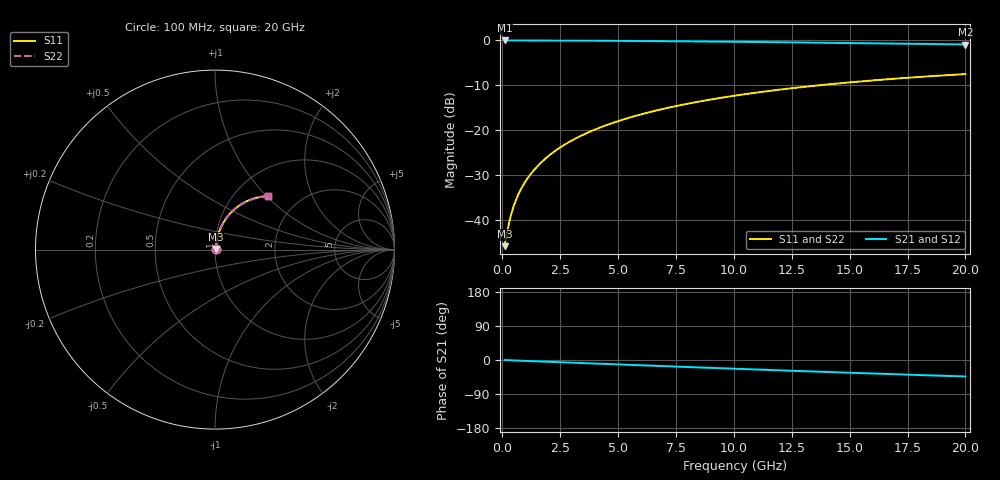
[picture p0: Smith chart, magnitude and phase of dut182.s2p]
! Touchstone file exported from HFSS 2026.1.0
!  File:  C:/ffzhzh/LocalFiles/Ansys_Project_Files/temp_train_BSMRDL_182_1782987206_40604.aedt
!  Generated:  06:15:34 PM Jul  2, 2026
!  Design:  BSMRDL
!  Project:  temp_train_BSMRDL_182_1782987206_40604
! Variables:
!  h_bsmrdl = 2.2um
!  h_ox = 20um
!  h_rdl = 5um
!  h_sub = 80um
!  h_tmrdl = 5um
!  h_tsv = 80um
!  h_via = 3um
!  l_bsmrdl = 604.57um
!  l_sub = 1004.57um
!  l_tmrdl = 200um
!  m_sub = 200um
!  pitch = 56.33um
!  r_tsv = 6um
!  s_tmrdl = 10um
!  w_bsmrdl = 25.05um
!  w_sub = 500um
!  w_tmrdl = 12um
!  x_tsv_center1 = 206um
!  x_tsv_center2 = 835.62um
!  x_tsv_center3 = 1047.62um
!  x_tsv_center4 = 1677.24um
!  x_tsv_center5 = 1889.24um
!  x_tsv_center6 = 2518.86um
# GHz S MA R 50.000000
! Terminal data exported
! Port[1] = BSM_RDL1_1_T1
! Port[2] = BSM_RDL1_1_T2
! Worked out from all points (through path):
!   200 points, 100 MHz to 20 GHz, reference 50 ohm
!   highest |S21| = -0.04 dB at 100 MHz (marker M1); lowest = -0.9 dB at 20 GHz (marker M2)
!   group delay of S21, straight-line fit = 6.07 ps
!   lowest |S11| = -45.9 dB at 100 MHz (marker M3), VSWR 1.01, Z = 50.4 + j0.281 ohm
!   |S11| at or under -10 dB: start of sweep to 13.75 GHz
!   |S22| runs from -45.9 to -7.5 dB; largest |S21 - S12| = 3.2e-15
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0.1  0.005065 33.3  0.9958 -0.3  0.9958 -0.3  0.005065 33.3
! Gamma 0 0 0 0
! Port Impedance 50 0 50 0
0.2  0.007053 51.6  0.9956 -0.5  0.9956 -0.5  0.007053 51.6
0.3  0.009407 60.7  0.9955 -0.7  0.9955 -0.7  0.009407 60.7
0.4  0.01186 65.8  0.9953 -1.0  0.9953 -1.0  0.01186 65.8
0.5  0.01433 69.1  0.9951 -1.2  0.9951 -1.2  0.01433 69.1
0.6  0.01679 71.3  0.9949 -1.5  0.9949 -1.5  0.01679 71.3
0.8  0.02171 74.2  0.9946 -1.9  0.9946 -1.9  0.02171 74.2
1.1  0.02909 76.6  0.9942 -2.6  0.9942 -2.6  0.02909 76.6
1.3  0.03403 77.5  0.9939 -3.1  0.9939 -3.1  0.03403 77.5
1.6  0.04147 78.4  0.9935 -3.8  0.9935 -3.8  0.04147 78.4
2.1  0.0539 78.9  0.9928 -5.0  0.9928 -5.0  0.0539 78.9
2.7  0.06883 78.7  0.9918 -6.4  0.9918 -6.4  0.06883 78.7
3.5  0.08868 77.9  0.9901 -8.3  0.9901 -8.3  0.08868 77.9
4.2  0.1059 76.8  0.9882 -9.9  0.9882 -9.9  0.1059 76.8
5  0.1254 75.4  0.9858 -11.7  0.9858 -11.7  0.1254 75.4
5.9  0.1471 73.6  0.9826 -13.8  0.9826 -13.8  0.1471 73.6
6.8  0.1684 71.8  0.979 -15.9  0.979 -15.9  0.1684 71.8
8.3  0.2029 68.7  0.972 -19.3  0.972 -19.3  0.2029 68.7
10.1  0.2425 64.9  0.9624 -23.3  0.9624 -23.3  0.2425 64.9
13.4  0.3096 58.1  0.9422 -30.4  0.9422 -30.4  0.3096 58.1
16.7  0.3688 51.4  0.9201 -37.1  0.9201 -37.1  0.3688 51.4
20  0.42 45.1  0.8976 -43.6  0.8976 -43.6  0.4199 45.1
